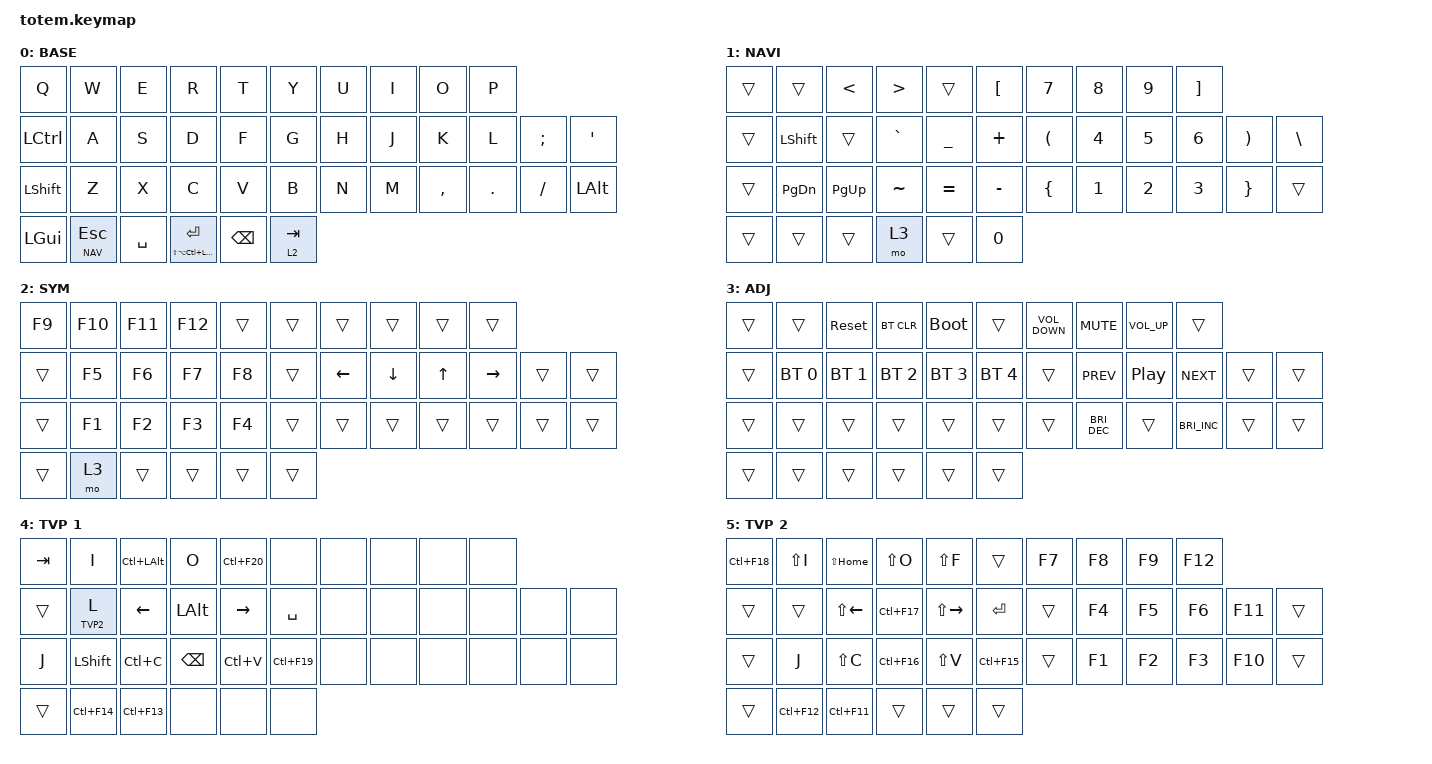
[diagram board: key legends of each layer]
//
//                                                        ▀▀▀▀▀     ▀▀▀▀▀          ▀▀█▀▀
//                                                        ▄▀▀▀▄  ▄  ▄▀▀▀▄  ▄  ▄▀▀▀▄  █  ▄▀▀▀▄
//                                                        █   █  █  █   █  █  █   █  █  █   █
//                                                         ▀▀▀   █   ▀▀▀   █   ▀▀▀   ▀   ▀▀▀
//                                                               █      ▄▄▄█▄▄▄    █   █  
//                                                               ▀      █  █  █     █▄█
//                                                             ▀▀▀▀▀    █  █  █      ▀
//                                                                      ▀  ▀  ▀
//
// ▄▄▄▄▄▄▄▄▄▄▄▄▄▄▄▄▄▄▄▄▄▄▄▄▄▄▄▄▄▄▄▄▄▄▄▄▄▄▄▄▄▄▄▄▄▄▄▄▄▄▄▄▄▄▄▄▄▄▄▄▄▄▄▄▄▄▄▄▄▄▄▄▄▄▄▄▄▄▄▄▄▄▄▄▄▄▄▄▄▄▄▄▄▄▄▄▄▄▄▄▄▄▄▄▄▄▄▄▄▄▄▄▄▄▄▄▄▄▄▄▄▄▄▄▄▄▄▄▄▄▄▄▄▄▄▄▄▄▄▄▄▄▄▄▄▄▄▄▄

#include <behaviors.dtsi>
#include <dt-bindings/zmk/bt.h>
#include <dt-bindings/zmk/keys.h>

#define BASE 0
#define NAV  1
#define SYM  2
#define ADJ  3
#define TVP1 4
#define TVP2 5

&mt {
    quick-tap-ms = <100>;
    global-quick-tap;
    flavor = "tap-preferred";
    tapping-term-ms = <170>;
};

&lt { flavor = "hold-preferred"; };

/ {
    combos {
        compatible = "zmk,combos";

        combo_tab {
            timeout-ms = <50>;
            key-positions = <1 2>;
            bindings = <&kp TAB>;
        };

        ctrl+space {
            bindings = <&kp LC(SPACE)>;
            key-positions = <13 14>;
            timeout-ms = <50>;
        };

        combo_soft_off {
            timeout-ms = <50>;
            key-positions = <13 19 18 12>; // weio
            bindings = <&soft_off>;
        };
    };

    behaviors {
        hml: hml {
            compatible = "zmk,behavior-hold-tap";
            label = "HML";
            bindings = <&kp>, <&kp>;

            #binding-cells = <2>;
            tapping-term-ms = <175>;
            quick-tap-ms = <200>;
            require-prior-idle-ms = <200>;
            flavor = "balanced";
            hold-trigger-key-positions = <32 33 34 5 6 7 8 9 15 16 17 18 19 26 27 28 29 30 31 35 36 37>;
            hold-trigger-on-release;
        };

        hmr: hmr {
            compatible = "zmk,behavior-hold-tap";
            label = "HMR";
            bindings = <&kp>, <&kp>;

            #binding-cells = <2>;
            tapping-term-ms = <175>;
            quick-tap-ms = <200>;
            require-prior-idle-ms = <200>;
            flavor = "balanced";
            hold-trigger-key-positions = <35 36 37 0 1 2 3 4 10 11 12 13 14 20 21 22 23 24 25 32 33 34>;
            hold-trigger-on-release;
        };
    };

    keymap {
        compatible = "zmk,keymap";

        // ▄▄▄▄▄▄▄▄▄▄▄▄▄▄▄▄▄▄▄▄▄▄▄▄▄▄▄▄▄▄▄▄▄▄▄▄▄▄▄▄▄▄▄▄▄▄▄▄▄▄▄▄▄▄▄▄▄▄▄▄▄▄▄▄▄▄▄▄▄▄▄▄▄▄▄▄▄▄▄▄▄▄▄▄▄▄▄▄▄▄▄▄▄▄▄▄▄▄▄▄▄▄▄▄▄▄▄▄▄▄▄▄▄▄▄▄▄▄▄▄▄▄▄▄▄▄▄▄▄▄▄▄▄▄▄▄▄▄▄▄▄▄▄▄▄▄▄▄▄

        base_layer {
            // ┏━━━━━━━━━━━━━━━━━━━━━━━━━━━━━━━━━━━━━━━┓

            label = "BASE";

            // ┗━━━━━━━━━━━━━━━━━━━━━━━━━━━━━━━━━━━━━━━┛
            //             ┏━━━━━━━━━━━┳━━━━━━━━━━━┳━━━━━━━━━━━┳━━━━━━━━━━━┳━━━━━━━━━━━┓   ┏━━━━━━━━━━━┳━━━━━━━━━━━┳━━━━━━━━━━━┳━━━━━━━━━━━┳━━━━━━━━━━━┓
            //             ┃     1     ┃     2     ┃     3     ┃     4     ┃     5     ┃   ┃     6     ┃     7     ┃     8     ┃     9     ┃     10    ┃
            //             ┣━━━━━━━━━━━╋━━━━━━━━━━━╋━━━━━━━━━━━╋━━━━━━━━━━━╋━━━━━━━━━━━┫   ┣━━━━━━━━━━━╋━━━━━━━━━━━╋━━━━━━━━━━━╋━━━━━━━━━━━╋━━━━━━━━━━━┫
            //       11    ┃     12    ┃     13    ┃     14    ┃     15    ┃     16    ┃   ┃     17    ┃     18    ┃     19    ┃     20    ┃     21    ┃     22
            // ┏━━━━━━━━━━━╋━━━━━━━━━━━╋━━━━━━━━━━━╋━━━━━━━━━━━╋━━━━━━━━━━━╋━━━━━━━━━━━┫   ┣━━━━━━━━━━━╋━━━━━━━━━━━╋━━━━━━━━━━━╋━━━━━━━━━━━╋━━━━━━━━━━━╋━━━━━━━━━━━┓
            // ┃     23    ┃     24    ┃     25    ┃     26    ┃     27    ┃     28    ┃   ┃     29    ┃     30    ┃     31    ┃     32    ┃     33    ┃     34    ┃
            // ┗━━━━━━━━━━━┻━━━━━━━━━━━┻━━━━━━━━━━━╋━━━━━━━━━━━╋━━━━━━━━━━━╋━━━━━━━━━━━┫   ┣━━━━━━━━━━━╋━━━━━━━━━━━╋━━━━━━━━━━━╋━━━━━━━━━━━┻━━━━━━━━━━━┻━━━━━━━━━━━┛
            //                                     ┃     35    ┃     36    ┃     37    ┃   ┃     38    ┃     39    ┃     40    ┃
            //                                     ┗━━━━━━━━━━━┻━━━━━━━━━━━┻━━━━━━━━━━━┛   ┗━━━━━━━━━━━┻━━━━━━━━━━━┻━━━━━━━━━━━┛

            bindings = <
&kp Q         &kp W           &kp E      &kp R                           &kp T          &kp Y      &kp U  &kp I  &kp O      &kp P
&kp LCTRL     &kp A           &kp S      &kp D                           &kp F          &kp G      &kp H  &kp J  &kp K      &kp L    &kp SEMICOLON  &kp SINGLE_QUOTE
&kp LSHIFT    &kp Z           &kp X      &kp C                           &kp V          &kp B      &kp N  &kp M  &kp COMMA  &kp DOT  &kp FSLH       &kp LALT
&kp LEFT_GUI  &lt NAV ESCAPE  &kp SPACE  &mt LS(LA(LC(LEFT_GUI))) ENTER  &kp BACKSPACE  &lt 2 TAB
            >;
        };

        // ▄▄▄▄▄▄▄▄▄▄▄▄▄▄▄▄▄▄▄▄▄▄▄▄▄▄▄▄▄▄▄▄▄▄▄▄▄▄▄▄▄▄▄▄▄▄▄▄▄▄▄▄▄▄▄▄▄▄▄▄▄▄▄▄▄▄▄▄▄▄▄▄▄▄▄▄▄▄▄▄▄▄▄▄▄▄▄▄▄▄▄▄▄▄▄▄▄▄▄▄▄▄▄▄▄▄▄▄▄▄▄▄▄▄▄▄▄▄▄▄▄▄▄▄▄▄▄▄▄▄▄▄▄▄▄▄▄▄▄▄▄▄▄▄▄▄▄▄▄

        nav_layer {
            // ┏━━━━━━━━━━━━━━━━━━━━━━━━━━━━━━━━━━━━━━━┓

            label = "NAVI";

            // ┗━━━━━━━━━━━━━━━━━━━━━━━━━━━━━━━━━━━━━━━┛
            //             ┏━━━━━━━━━━━┳━━━━━━━━━━━┳━━━━━━━━━━━┳━━━━━━━━━━━┳━━━━━━━━━━━┓   ┏━━━━━━━━━━━┳━━━━━━━━━━━┳━━━━━━━━━━━┳━━━━━━━━━━━┳━━━━━━━━━━━┓
            //             ┃           ┃           ┃     UP    ┃           ┃     {     ┃   ┃     }     ┃     7     ┃     8     ┃     9     ┃     +     ┃
            //             ┣━━━━━━━━━━━╋━━━━━━━━━━━╋━━━━━━━━━━━╋━━━━━━━━━━━╋━━━━━━━━━━━┫   ┣━━━━━━━━━━━╋━━━━━━━━━━━╋━━━━━━━━━━━╋━━━━━━━━━━━╋━━━━━━━━━━━┫
            //             ┃   SHIFT   ┃   LEFT    ┃    DOWN   ┃   RIGHT   ┃     [     ┃   ┃     ]     ┃     4     ┃     5     ┃     6     ┃     -     ┃
            // ┏━━━━━━━━━━━╋━━━━━━━━━━━╋━━━━━━━━━━━╋━━━━━━━━━━━╋━━━━━━━━━━━╋━━━━━━━━━━━┫   ┣━━━━━━━━━━━╋━━━━━━━━━━━╋━━━━━━━━━━━╋━━━━━━━━━━━╋━━━━━━━━━━━╋━━━━━━━━━━━┓
            // ┃           ┃           ┃   P UP    ┃  C LOCK   ┃  P DOWN   ┃     (     ┃   ┃     )     ┃     1     ┃     2     ┃     3     ┃     *     ┃           ┃
            // ┗━━━━━━━━━━━┻━━━━━━━━━━━┻━━━━━━━━━━━╋━━━━━━━━━━━╋━━━━━━━━━━━╋━━━━━━━━━━━┫   ┣━━━━━━━━━━━╋━━━━━━━━━━━╋━━━━━━━━━━━╋━━━━━━━━━━━┻━━━━━━━━━━━┻━━━━━━━━━━━┛
            //                                     ┃           ┃    TAB    ┃    SPC    ┃   ┃    DEL    ┃     0     ┃           ┃
            //                                     ┗━━━━━━━━━━━┻━━━━━━━━━━━┻━━━━━━━━━━━┛   ┗━━━━━━━━━━━┻━━━━━━━━━━━┻━━━━━━━━━━━┛

            bindings = <
&trans  &trans         &kp LESS_THAN  &kp GREATER_THAN  &trans          &kp LEFT_BRACKET  &kp N7                &kp N8        &kp N9        &kp RIGHT_BRACKET
&trans  &kp LSHFT      &trans         &kp GRAVE         &kp UNDERSCORE  &kp PLUS          &kp LEFT_PARENTHESIS  &kp NUMBER_4  &kp N5        &kp NUMBER_6       &kp RIGHT_PARENTHESIS  &kp BACKSLASH
&trans  &kp PAGE_DOWN  &kp PG_UP      &kp TILDE         &kp EQUAL       &kp MINUS         &kp LEFT_BRACE        &kp NUMBER_1  &kp NUMBER_2  &kp NUMBER_3       &kp RIGHT_BRACE        &trans
&trans  &trans         &trans         &mo 3             &trans          &kp N0
            >;
        };

        // ▄▄▄▄▄▄▄▄▄▄▄▄▄▄▄▄▄▄▄▄▄▄▄▄▄▄▄▄▄▄▄▄▄▄▄▄▄▄▄▄▄▄▄▄▄▄▄▄▄▄▄▄▄▄▄▄▄▄▄▄▄▄▄▄▄▄▄▄▄▄▄▄▄▄▄▄▄▄▄▄▄▄▄▄▄▄▄▄▄▄▄▄▄▄▄▄▄▄▄▄▄▄▄▄▄▄▄▄▄▄▄▄▄▄▄▄▄▄▄▄▄▄▄▄▄▄▄▄▄▄▄▄▄▄▄▄▄▄▄▄▄▄▄▄▄▄▄▄▄

        sim_layer {
            // ┏━━━━━━━━━━━━━━━━━━━━━━━━━━━━━━━━━━━━━━━┓

            label = "SYM";

            // ┗━━━━━━━━━━━━━━━━━━━━━━━━━━━━━━━━━━━━━━━┛
            //             ┏━━━━━━━━━━━┳━━━━━━━━━━━┳━━━━━━━━━━━┳━━━━━━━━━━━┳━━━━━━━━━━━┓   ┏━━━━━━━━━━━┳━━━━━━━━━━━┳━━━━━━━━━━━┳━━━━━━━━━━━┳━━━━━━━━━━━┓
            //             ┃     !     ┃     @     ┃     #     ┃     $     ┃     %     ┃   ┃     ˆ     ┃     &     ┃     Ü     ┃     '     ┃     "     ┃
            //             ┣━━━━━━━━━━━╋━━━━━━━━━━━╋━━━━━━━━━━━╋━━━━━━━━━━━╋━━━━━━━━━━━┫   ┣━━━━━━━━━━━╋━━━━━━━━━━━╋━━━━━━━━━━━╋━━━━━━━━━━━╋━━━━━━━━━━━┫
            //             ┃     Ä     ┃           ┃    SZ     ┃           ┃           ┃   ┃   MUTE    ┃   YEN     ┃   EURO    ┃  POUND    ┃     Ö     ┃
            // ┏━━━━━━━━━━━╋━━━━━━━━━━━╋━━━━━━━━━━━╋━━━━━━━━━━━╋━━━━━━━━━━━╋━━━━━━━━━━━┫   ┣━━━━━━━━━━━╋━━━━━━━━━━━╋━━━━━━━━━━━╋━━━━━━━━━━━╋━━━━━━━━━━━╋━━━━━━━━━━━┓
            // ┃           ┃  EMAIL1   ┃  EMAIL2   ┃           ┃           ┃           ┃   ┃   VOL-    ┃   VOL+    ┃   LAST    ┃   NEXT    ┃     \     ┃           ┃
            // ┗━━━━━━━━━━━┻━━━━━━━━━━━┻━━━━━━━━━━━╋━━━━━━━━━━━╋━━━━━━━━━━━╋━━━━━━━━━━━┫   ┣━━━━━━━━━━━╋━━━━━━━━━━━╋━━━━━━━━━━━╋━━━━━━━━━━━┻━━━━━━━━━━━┻━━━━━━━━━━━┛
            //                                     ┃           ┃    GIF    ┃    ADJ    ┃   ┃           ┃           ┃           ┃
            //                                     ┗━━━━━━━━━━━┻━━━━━━━━━━━┻━━━━━━━━━━━┛   ┗━━━━━━━━━━━┻━━━━━━━━━━━┻━━━━━━━━━━━┛

            bindings = <
&kp F9  &kp F10  &kp F11  &kp F12  &trans  &trans  &trans    &trans    &trans        &trans
&trans  &kp F5   &kp F6   &kp F7   &kp F8  &trans  &kp LEFT  &kp DOWN  &kp UP_ARROW  &kp RIGHT  &trans  &trans
&trans  &kp F1   &kp F2   &kp F3   &kp F4  &trans  &trans    &trans    &trans        &trans     &trans  &trans
&trans  &mo 3    &trans   &trans   &trans  &trans
            >;
        };

        // ▄▄▄▄▄▄▄▄▄▄▄▄▄▄▄▄▄▄▄▄▄▄▄▄▄▄▄▄▄▄▄▄▄▄▄▄▄▄▄▄▄▄▄▄▄▄▄▄▄▄▄▄▄▄▄▄▄▄▄▄▄▄▄▄▄▄▄▄▄▄▄▄▄▄▄▄▄▄▄▄▄▄▄▄▄▄▄▄▄▄▄▄▄▄▄▄▄▄▄▄▄▄▄▄▄▄▄▄▄▄▄▄▄▄▄▄▄▄▄▄▄▄▄▄▄▄▄▄▄▄▄▄▄▄▄▄▄▄▄▄▄▄▄▄▄▄▄▄▄

        adjust_layer {
            // ┏━━━━━━━━━━━━━━━━━━━━━━━━━━━━━━━━━━━━━━━┓

            label = "ADJ";

            // ┗━━━━━━━━━━━━━━━━━━━━━━━━━━━━━━━━━━━━━━━┛
            //             ┏━━━━━━━━━━━┳━━━━━━━━━━━┳━━━━━━━━━━━┳━━━━━━━━━━━┳━━━━━━━━━━━┓   ┏━━━━━━━━━━━┳━━━━━━━━━━━┳━━━━━━━━━━━┳━━━━━━━━━━━┳━━━━━━━━━━━┓
            //             ┃   RESET   ┃ BT CLEAR  ┃  OUT TOG  ┃           ┃           ┃   ┃           ┃    F7     ┃    F8     ┃    F9     ┃    F12    ┃
            //             ┣━━━━━━━━━━━╋━━━━━━━━━━━╋━━━━━━━━━━━╋━━━━━━━━━━━╋━━━━━━━━━━━┫   ┣━━━━━━━━━━━╋━━━━━━━━━━━╋━━━━━━━━━━━╋━━━━━━━━━━━╋━━━━━━━━━━━┫
            //             ┃ BOOTLOAD  ┃ BT NEXT   ┃           ┃           ┃           ┃   ┃           ┃    F4     ┃    F5     ┃    F6     ┃    F11    ┃
            // ┏━━━━━━━━━━━╋━━━━━━━━━━━╋━━━━━━━━━━━╋━━━━━━━━━━━╋━━━━━━━━━━━╋━━━━━━━━━━━┫   ┣━━━━━━━━━━━╋━━━━━━━━━━━╋━━━━━━━━━━━╋━━━━━━━━━━━╋━━━━━━━━━━━╋━━━━━━━━━━━┓
            // ┃           ┃           ┃ BT PREV   ┃           ┃           ┃           ┃   ┃           ┃    F1     ┃    F2     ┃    F3     ┃    F10    ┃           ┃
            // ┗━━━━━━━━━━━┻━━━━━━━━━━━┻━━━━━━━━━━━╋━━━━━━━━━━━╋━━━━━━━━━━━╋━━━━━━━━━━━┫   ┣━━━━━━━━━━━╋━━━━━━━━━━━╋━━━━━━━━━━━╋━━━━━━━━━━━┻━━━━━━━━━━━┻━━━━━━━━━━━┛
            //                                     ┃           ┃           ┃           ┃   ┃           ┃           ┃           ┃
            //                                     ┗━━━━━━━━━━━┻━━━━━━━━━━━┻━━━━━━━━━━━┛   ┗━━━━━━━━━━━┻━━━━━━━━━━━┻━━━━━━━━━━━┛

            bindings = <
&trans  &trans        &sys_reset    &bt BT_CLR    &bootloader   &trans        &kp C_VOLUME_DOWN  &kp K_MUTE            &kp C_VOLUME_UP   &trans
&trans  &bt BT_SEL 0  &bt BT_SEL 1  &bt BT_SEL 2  &bt BT_SEL 3  &bt BT_SEL 4  &trans             &kp C_PREV            &kp C_PLAY_PAUSE  &kp C_NEXT            &trans  &trans
&trans  &trans        &trans        &trans        &trans        &trans        &trans             &kp C_BRIGHTNESS_DEC  &trans            &kp C_BRIGHTNESS_INC  &trans  &trans
&trans  &trans        &trans        &trans        &trans        &trans
            >;
        };

        // ▄▄▄▄▄▄▄▄▄▄▄▄▄▄▄▄▄▄▄▄▄▄▄▄▄▄▄▄▄▄▄▄▄▄▄▄▄▄▄▄▄▄▄▄▄▄▄▄▄▄▄▄▄▄▄▄▄▄▄▄▄▄▄▄▄▄▄▄▄▄▄▄▄▄▄▄▄▄▄▄▄▄▄▄▄▄▄▄▄▄▄▄▄▄▄▄▄▄▄▄▄▄▄▄▄▄▄▄▄▄▄▄▄▄▄▄▄▄▄▄▄▄▄▄▄▄▄▄▄▄▄▄▄▄▄▄▄▄▄▄▄▄▄▄▄▄▄▄▄

        tvp1_layer {
            // ┏━━━━━━━━━━━━━━━━━━━━━━━━━━━━━━━━━━━━━━━┓

            label = "TVP 1";

            // ┗━━━━━━━━━━━━━━━━━━━━━━━━━━━━━━━━━━━━━━━┛
            //             ┏━━━━━━━━━━━┳━━━━━━━━━━━┳━━━━━━━━━━━┳━━━━━━━━━━━┳━━━━━━━━━━━┓   ┏━━━━━━━━━━━┳━━━━━━━━━━━┳━━━━━━━━━━━┳━━━━━━━━━━━┳━━━━━━━━━━━┓
            //             ┃ NEXT FILE ┃ MARK IN   ┃ ROTATE    ┃ MARK OUT  ┃ SHOW SNAP ┃   ┃           ┃           ┃           ┃           ┃           ┃
            //             ┣━━━━━━━━━━━╋━━━━━━━━━━━╋━━━━━━━━━━━╋━━━━━━━━━━━╋━━━━━━━━━━━┫   ┣━━━━━━━━━━━╋━━━━━━━━━━━╋━━━━━━━━━━━╋━━━━━━━━━━━╋━━━━━━━━━━━┫
            //             ┃ TVP II    ┃ LEFT      ┃ PAN       ┃ RIGHT     ┃ PLAY/FLIP ┃   ┃           ┃           ┃           ┃           ┃           ┃
            // ┏━━━━━━━━━━━╋━━━━━━━━━━━╋━━━━━━━━━━━╋━━━━━━━━━━━╋━━━━━━━━━━━╋━━━━━━━━━━━┫   ┣━━━━━━━━━━━╋━━━━━━━━━━━╋━━━━━━━━━━━╋━━━━━━━━━━━╋━━━━━━━━━━━╋━━━━━━━━━━━┓
            // ┃ FULLSCR   ┃ SHIFT     ┃ COPY      ┃ DELETE    ┃ PASTE     ┃ IMG MARK  ┃   ┃           ┃           ┃           ┃           ┃           ┃           ┃
            // ┗━━━━━━━━━━━┻━━━━━━━━━━━┻━━━━━━━━━━━╋━━━━━━━━━━━╋━━━━━━━━━━━╋━━━━━━━━━━━┫   ┣━━━━━━━━━━━╋━━━━━━━━━━━╋━━━━━━━━━━━╋━━━━━━━━━━━┻━━━━━━━━━━━┻━━━━━━━━━━━┛
            //                                     ┃           ┃ UNDO/SAVE ┃  SEL/MOV  ┃   ┃           ┃           ┃           ┃
            //                                     ┗━━━━━━━━━━━┻━━━━━━━━━━━┻━━━━━━━━━━━┛   ┗━━━━━━━━━━━┻━━━━━━━━━━━┻━━━━━━━━━━━┛

            bindings = <
&kp TAB  &kp I        &kp LC(LALT)  &kp O     &kp LC(F20)  &none        &none  &none  &none  &none
&trans   &lt TVP2 L   &kp LEFT      &kp LALT  &kp RIGHT    &kp SPACE    &none  &none  &none  &none  &none  &none
&kp J    &kp LSHFT    &kp LC(C)     &kp BSPC  &kp LC(V)    &kp LC(F19)  &none  &none  &none  &none  &none  &none
&trans   &kp LC(F14)  &kp LC(F13)   &none     &none        &none
            >;
        };

        // ▄▄▄▄▄▄▄▄▄▄▄▄▄▄▄▄▄▄▄▄▄▄▄▄▄▄▄▄▄▄▄▄▄▄▄▄▄▄▄▄▄▄▄▄▄▄▄▄▄▄▄▄▄▄▄▄▄▄▄▄▄▄▄▄▄▄▄▄▄▄▄▄▄▄▄▄▄▄▄▄▄▄▄▄▄▄▄▄▄▄▄▄▄▄▄▄▄▄▄▄▄▄▄▄▄▄▄▄▄▄▄▄▄▄▄▄▄▄▄▄▄▄▄▄▄▄▄▄▄▄▄▄▄▄▄▄▄▄▄▄▄▄▄▄▄▄▄▄▄

        tvp2_layer {
            // ┏━━━━━━━━━━━━━━━━━━━━━━━━━━━━━━━━━━━━━━━┓

            label = "TVP 2";

            // ┗━━━━━━━━━━━━━━━━━━━━━━━━━━━━━━━━━━━━━━━┛
            //             ┏━━━━━━━━━━━┳━━━━━━━━━━━┳━━━━━━━━━━━┳━━━━━━━━━━━┳━━━━━━━━━━━┓   ┏━━━━━━━━━━━┳━━━━━━━━━━━┳━━━━━━━━━━━┳━━━━━━━━━━━┳━━━━━━━━━━━┓
            //             ┃ SOLO      ┃ TOGGLE IN ┃ RESET ROT ┃ TOGGLE OUT┃ TAKE SNAP ┃   ┃           ┃           ┃           ┃           ┃           ┃
            //             ┣━━━━━━━━━━━╋━━━━━━━━━━━╋━━━━━━━━━━━╋━━━━━━━━━━━╋━━━━━━━━━━━┫   ┣━━━━━━━━━━━╋━━━━━━━━━━━╋━━━━━━━━━━━╋━━━━━━━━━━━╋━━━━━━━━━━━┫
            //             ┃ ---       ┃ LAST KEY  ┃ NEW KEY   ┃ NEXT KEY  ┃ ENTER     ┃   ┃           ┃           ┃           ┃           ┃           ┃
            // ┏━━━━━━━━━━━╋━━━━━━━━━━━╋━━━━━━━━━━━╋━━━━━━━━━━━╋━━━━━━━━━━━╋━━━━━━━━━━━┫   ┣━━━━━━━━━━━╋━━━━━━━━━━━╋━━━━━━━━━━━╋━━━━━━━━━━━╋━━━━━━━━━━━╋━━━━━━━━━━━┓
            // ┃           ┃ FULLSCR   ┃ CPY2BRUSH ┃ DEL HEAD  ┃ PSTinPLACE┃ BOOK MARK ┃   ┃           ┃           ┃           ┃           ┃           ┃           ┃
            // ┗━━━━━━━━━━━┻━━━━━━━━━━━┻━━━━━━━━━━━╋━━━━━━━━━━━╋━━━━━━━━━━━╋━━━━━━━━━━━┫   ┣━━━━━━━━━━━╋━━━━━━━━━━━╋━━━━━━━━━━━╋━━━━━━━━━━━┻━━━━━━━━━━━┻━━━━━━━━━━━┛
            //                                     ┃           ┃ REDO/SAV1 ┃TRANS/WARP ┃   ┃           ┃           ┃           ┃
            //                                     ┗━━━━━━━━━━━┻━━━━━━━━━━━┻━━━━━━━━━━━┛   ┗━━━━━━━━━━━┻━━━━━━━━━━━┻━━━━━━━━━━━┛

            bindings = <
&kp LC(F18)  &kp LS(I)    &kp LS(HOME)  &kp LS(O)    &kp LS(F)      &trans       &kp F7  &kp F8  &kp F9  &kp F12
&trans       &trans       &kp LS(LEFT)  &kp LC(F17)  &kp LS(RIGHT)  &kp RET      &trans  &kp F4  &kp F5  &kp F6   &kp F11  &trans
&trans       &kp J        &kp LS(C)     &kp LC(F16)  &kp LS(V)      &kp LC(F15)  &trans  &kp F1  &kp F2  &kp F3   &kp F10  &trans
&trans       &kp LC(F12)  &kp LC(F11)   &trans       &trans         &trans
            >;
        };
    };
};
